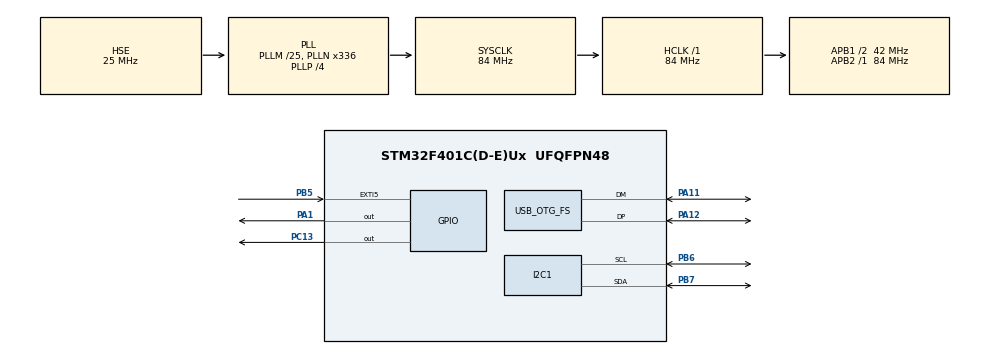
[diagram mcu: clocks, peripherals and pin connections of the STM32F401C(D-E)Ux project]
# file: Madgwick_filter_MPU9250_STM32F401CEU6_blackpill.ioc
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Dma.I2C1_RX.0.Direction=DMA_PERIPH_TO_MEMORY
Dma.I2C1_RX.0.FIFOMode=DMA_FIFOMODE_DISABLE
Dma.I2C1_RX.0.Instance=DMA1_Stream0
Dma.I2C1_RX.0.MemDataAlignment=DMA_MDATAALIGN_BYTE
Dma.I2C1_RX.0.MemInc=DMA_MINC_ENABLE
Dma.I2C1_RX.0.Mode=DMA_NORMAL
Dma.I2C1_RX.0.PeriphDataAlignment=DMA_PDATAALIGN_BYTE
Dma.I2C1_RX.0.PeriphInc=DMA_PINC_DISABLE
Dma.I2C1_RX.0.Priority=DMA_PRIORITY_LOW
Dma.I2C1_TX.1.Direction=DMA_MEMORY_TO_PERIPH
Dma.I2C1_TX.1.FIFOMode=DMA_FIFOMODE_DISABLE
Dma.I2C1_TX.1.Instance=DMA1_Stream6
Dma.I2C1_TX.1.MemDataAlignment=DMA_MDATAALIGN_BYTE
Dma.I2C1_TX.1.MemInc=DMA_MINC_ENABLE
Dma.I2C1_TX.1.Mode=DMA_NORMAL
Dma.I2C1_TX.1.PeriphDataAlignment=DMA_PDATAALIGN_BYTE
Dma.I2C1_TX.1.PeriphInc=DMA_PINC_DISABLE
Dma.I2C1_TX.1.Priority=DMA_PRIORITY_LOW
Dma.Request0=I2C1_RX
Dma.Request1=I2C1_TX
I2C1.I2C_Mode=I2C_Fast
Mcu.Family=STM32F4
Mcu.Name=STM32F401C(D-E)Ux
Mcu.Package=UFQFPN48
NVIC.DMA1_Stream0_IRQn=true\:0\:0\:false\:false\:true\:false\:true\:true
NVIC.DMA1_Stream6_IRQn=true\:0\:0\:false\:false\:true\:false\:true\:true
NVIC.EXTI9_5_IRQn=true\:0\:0\:false\:false\:true\:true\:true\:true
NVIC.I2C1_ER_IRQn=true\:0\:0\:false\:false\:true\:true\:true\:true
NVIC.I2C1_EV_IRQn=true\:0\:0\:false\:false\:true\:true\:true\:true
NVIC.OTG_FS_IRQn=true\:0\:0\:false\:false\:true\:false\:true\:true
NVIC.PriorityGroup=NVIC_PRIORITYGROUP_4
NVIC.TIM2_IRQn=true\:0\:0\:false\:false\:true\:true\:true\:true
PA1.Signal=GPIO_Output
PA11.Mode=Device_Only
PA11.Signal=USB_OTG_FS_DM
PA12.Mode=Device_Only
PA12.Signal=USB_OTG_FS_DP
PB5.Signal=GPXTI5
PB6.Mode=I2C
PB6.Signal=I2C1_SCL
PB7.Mode=I2C
PB7.Signal=I2C1_SDA
PC13-ANTI_TAMP.PinState=GPIO_PIN_SET
PC13-ANTI_TAMP.Signal=GPIO_Output
PC14-OSC32_IN.Mode=LSE-External-Oscillator
PC14-OSC32_IN.Signal=RCC_OSC32_IN
PC15-OSC32_OUT.Mode=LSE-External-Oscillator
PC15-OSC32_OUT.Signal=RCC_OSC32_OUT
PH0\ -\ OSC_IN.Mode=HSE-External-Oscillator
PH0\ -\ OSC_IN.Signal=RCC_OSC_IN
PH1\ -\ OSC_OUT.Mode=HSE-External-Oscillator
PH1\ -\ OSC_OUT.Signal=RCC_OSC_OUT
ProjectManager.HeapSize=0x200
ProjectManager.StackSize=0x400
ProjectManager.TargetToolchain=STM32CubeIDE
RCC.48MHZClocksFreq_Value=48000000
RCC.AHBFreq_Value=84000000
RCC.APB1CLKDivider=RCC_HCLK_DIV2
RCC.APB1Freq_Value=42000000
RCC.APB1TimFreq_Value=84000000
RCC.APB2Freq_Value=84000000
RCC.APB2TimFreq_Value=84000000
RCC.CortexFreq_Value=84000000
RCC.HCLKFreq_Value=84000000
RCC.HSE_VALUE=25000000
RCC.HSI_VALUE=16000000
RCC.PLLM=25
RCC.PLLN=336
RCC.PLLP=RCC_PLLP_DIV4
RCC.PLLQ=7
RCC.SYSCLKFreq_VALUE=84000000
RCC.SYSCLKSource=RCC_SYSCLKSOURCE_PLLCLK
RCC.VCOOutputFreq_Value=336000000
TIM2.Period=1000-1
TIM2.Prescaler=84-1
USB_DEVICE.CLASS_NAME_FS=CDC
USB_DEVICE.VirtualMode-CDC_FS=Cdc
USB_DEVICE.VirtualModeFS=Cdc_FS
USB_OTG_FS.VirtualMode=Device_Only
VP_TIM2_VS_ClockSourceINT.Mode=Internal
VP_USB_DEVICE_VS_USB_DEVICE_CDC_FS.Mode=CDC_FS
board=custom

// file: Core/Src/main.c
/* USER CODE BEGIN Header */
/**
  ******************************************************************************
  * @file           : main.c
  * @brief          : Main program body
  ******************************************************************************
  * @attention
  *
  * Copyright (c) 2023 STMicroelectronics.
  * All rights reserved.
  *
  * This software is licensed under terms that can be found in the LICENSE file
  * in the root directory of this software component.
  * If no LICENSE file comes with this software, it is provided AS-IS.
  *
  ******************************************************************************
  */
/* USER CODE END Header */
#include "main.h"
#include "usb_device.h"

/* USER CODE BEGIN Includes */
#include "MPU9250.h"
#include "Timers.h"
#include "stdio.h"
#include "stdbool.h"
#include "usbd_cdc_if.h"
#include "Madgwick_filter.h"
#include "math.h"
/* USER CODE END Includes */

I2C_HandleTypeDef hi2c1;
DMA_HandleTypeDef hdma_i2c1_rx;
DMA_HandleTypeDef hdma_i2c1_tx;

TIM_HandleTypeDef htim2;

/* USER CODE BEGIN PV */
// Set structs for converting result from Quaternion to Euler angles

/* USER CODE END PV */

void SystemClock_Config(void);
static void MX_GPIO_Init(void);
static void MX_DMA_Init(void);
static void MX_I2C1_Init(void);
static void MX_TIM2_Init(void);

int main(void)
{
  /* USER CODE BEGIN 1 */
	uint8_t UART_tx_buffer[100];
	uint8_t length;
//	float r,p,y;
  /* USER CODE END 1 */

  /* MCU Configuration--------------------------------------------------------*/

  /* Reset of all peripherals, Initializes the Flash interface and the Systick. */
  HAL_Init();

  /* Configure the system clock */
  SystemClock_Config();

  /* Initialize all configured peripherals */
  MX_GPIO_Init();
  MX_DMA_Init();
  MX_I2C1_Init();
  MX_TIM2_Init();
  MX_USB_DEVICE_Init();
  /* USER CODE BEGIN 2 */
  HAL_Delay(3000);
  MPU9250_init();
  /* USER CODE END 2 */

  /* Infinite loop */
  /* USER CODE BEGIN WHILE */
  while (1)
  {
	  get_mpu_data();
	  get_ak_data();
	  if(execute_filter_flag == true)
	  {
		  execute_filter_flag = false;
		  MadgwickAHRSupdate(MPU9250.gx, MPU9250.gy, MPU9250.gz, MPU9250.ax, MPU9250.ay, MPU9250.az, MPU9250.my, MPU9250.mx, -MPU9250.mz);
		  computeAngles();
	  }
	  if(uart_send_data_flag == true)
	  {
		  uart_send_data_flag = false;
		  length = sprintf((char*)UART_tx_buffer, "Orientation: %f %f %f\r\n", 20+yaw, pitch, roll);
		  CDC_Transmit_FS(UART_tx_buffer, length);
	  }
    /* USER CODE END WHILE */

  }
}

void SystemClock_Config(void)
{
  RCC_OscInitTypeDef RCC_OscInitStruct = {0};
  RCC_ClkInitTypeDef RCC_ClkInitStruct = {0};

  /** Configure the main internal regulator output voltage
  */
  __HAL_RCC_PWR_CLK_ENABLE();
  __HAL_PWR_VOLTAGESCALING_CONFIG(PWR_REGULATOR_VOLTAGE_SCALE2);

  /** Initializes the RCC Oscillators according to the specified parameters
  * in the RCC_OscInitTypeDef structure.
  */
  RCC_OscInitStruct.OscillatorType = RCC_OSCILLATORTYPE_HSE;
  RCC_OscInitStruct.HSEState = RCC_HSE_ON;
  RCC_OscInitStruct.PLL.PLLState = RCC_PLL_ON;
  RCC_OscInitStruct.PLL.PLLSource = RCC_PLLSOURCE_HSE;
  RCC_OscInitStruct.PLL.PLLM = 25;
  RCC_OscInitStruct.PLL.PLLN = 336;
  RCC_OscInitStruct.PLL.PLLP = RCC_PLLP_DIV4;
  RCC_OscInitStruct.PLL.PLLQ = 7;
  if (HAL_RCC_OscConfig(&RCC_OscInitStruct) != HAL_OK)
  {
    Error_Handler();
  }

  /** Initializes the CPU, AHB and APB buses clocks
  */
  RCC_ClkInitStruct.ClockType = RCC_CLOCKTYPE_HCLK|RCC_CLOCKTYPE_SYSCLK
                              |RCC_CLOCKTYPE_PCLK1|RCC_CLOCKTYPE_PCLK2;
  RCC_ClkInitStruct.SYSCLKSource = RCC_SYSCLKSOURCE_PLLCLK;
  RCC_ClkInitStruct.AHBCLKDivider = RCC_SYSCLK_DIV1;
  RCC_ClkInitStruct.APB1CLKDivider = RCC_HCLK_DIV2;
  RCC_ClkInitStruct.APB2CLKDivider = RCC_HCLK_DIV1;

  if (HAL_RCC_ClockConfig(&RCC_ClkInitStruct, FLASH_LATENCY_2) != HAL_OK)
  {
    Error_Handler();
  }
}

static void MX_I2C1_Init(void)
{

  hi2c1.Instance = I2C1;
  hi2c1.Init.ClockSpeed = 400000;
  hi2c1.Init.DutyCycle = I2C_DUTYCYCLE_2;
  hi2c1.Init.OwnAddress1 = 0;
  hi2c1.Init.AddressingMode = I2C_ADDRESSINGMODE_7BIT;
  hi2c1.Init.DualAddressMode = I2C_DUALADDRESS_DISABLE;
  hi2c1.Init.OwnAddress2 = 0;
  hi2c1.Init.GeneralCallMode = I2C_GENERALCALL_DISABLE;
  hi2c1.Init.NoStretchMode = I2C_NOSTRETCH_DISABLE;
  if (HAL_I2C_Init(&hi2c1) != HAL_OK)
  {
    Error_Handler();
  }

}

static void MX_TIM2_Init(void)
{

  TIM_ClockConfigTypeDef sClockSourceConfig = {0};
  TIM_MasterConfigTypeDef sMasterConfig = {0};

  htim2.Instance = TIM2;
  htim2.Init.Prescaler = 84-1;
  htim2.Init.CounterMode = TIM_COUNTERMODE_UP;
  htim2.Init.Period = 1000-1;
  htim2.Init.ClockDivision = TIM_CLOCKDIVISION_DIV1;
  htim2.Init.AutoReloadPreload = TIM_AUTORELOAD_PRELOAD_DISABLE;
  if (HAL_TIM_Base_Init(&htim2) != HAL_OK)
  {
    Error_Handler();
  }
  sClockSourceConfig.ClockSource = TIM_CLOCKSOURCE_INTERNAL;
  if (HAL_TIM_ConfigClockSource(&htim2, &sClockSourceConfig) != HAL_OK)
  {
    Error_Handler();
  }
  sMasterConfig.MasterOutputTrigger = TIM_TRGO_RESET;
  sMasterConfig.MasterSlaveMode = TIM_MASTERSLAVEMODE_DISABLE;
  if (HAL_TIMEx_MasterConfigSynchronization(&htim2, &sMasterConfig) != HAL_OK)
  {
    Error_Handler();
  }

}

static void MX_DMA_Init(void)
{

  /* DMA controller clock enable */
  __HAL_RCC_DMA1_CLK_ENABLE();

  /* DMA interrupt init */
  /* DMA1_Stream0_IRQn interrupt configuration */
  HAL_NVIC_SetPriority(DMA1_Stream0_IRQn, 0, 0);
  HAL_NVIC_EnableIRQ(DMA1_Stream0_IRQn);
  /* DMA1_Stream6_IRQn interrupt configuration */
  HAL_NVIC_SetPriority(DMA1_Stream6_IRQn, 0, 0);
  HAL_NVIC_EnableIRQ(DMA1_Stream6_IRQn);

}

static void MX_GPIO_Init(void)
{
  GPIO_InitTypeDef GPIO_InitStruct = {0};

  /* GPIO Ports Clock Enable */
  __HAL_RCC_GPIOC_CLK_ENABLE();
  __HAL_RCC_GPIOH_CLK_ENABLE();
  __HAL_RCC_GPIOA_CLK_ENABLE();
  __HAL_RCC_GPIOB_CLK_ENABLE();

  /*Configure GPIO pin Output Level */
  HAL_GPIO_WritePin(GPIOC, GPIO_PIN_13, GPIO_PIN_SET);

  /*Configure GPIO pin Output Level */
  HAL_GPIO_WritePin(GPIOA, GPIO_PIN_1, GPIO_PIN_RESET);

  /*Configure GPIO pin : PC13 */
  GPIO_InitStruct.Pin = GPIO_PIN_13;
  GPIO_InitStruct.Mode = GPIO_MODE_OUTPUT_PP;
  GPIO_InitStruct.Pull = GPIO_NOPULL;
  GPIO_InitStruct.Speed = GPIO_SPEED_FREQ_LOW;
  HAL_GPIO_Init(GPIOC, &GPIO_InitStruct);

  /*Configure GPIO pin : PA1 */
  GPIO_InitStruct.Pin = GPIO_PIN_1;
  GPIO_InitStruct.Mode = GPIO_MODE_OUTPUT_PP;
  GPIO_InitStruct.Pull = GPIO_NOPULL;
  GPIO_InitStruct.Speed = GPIO_SPEED_FREQ_LOW;
  HAL_GPIO_Init(GPIOA, &GPIO_InitStruct);

  /*Configure GPIO pin : PB5 */
  GPIO_InitStruct.Pin = GPIO_PIN_5;
  GPIO_InitStruct.Mode = GPIO_MODE_IT_RISING;
  GPIO_InitStruct.Pull = GPIO_NOPULL;
  HAL_GPIO_Init(GPIOB, &GPIO_InitStruct);

  /* EXTI interrupt init*/
  HAL_NVIC_SetPriority(EXTI9_5_IRQn, 0, 0);
  HAL_NVIC_EnableIRQ(EXTI9_5_IRQn);

}

void Error_Handler(void)
{
  __disable_irq();
  while (1)
  {
  }
}
